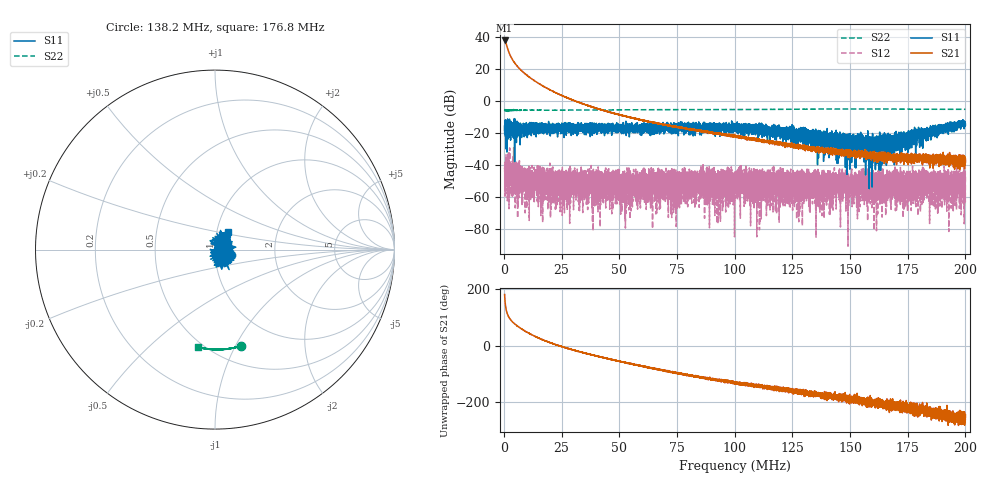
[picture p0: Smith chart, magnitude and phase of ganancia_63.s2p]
# Hz S DB R 50
! CMT, M5065, 19127446, 24.2.4/2
! Date: 11/8/2024 4:21:44 PM
! Data: Format (Calibration Info)
! Freq	S11:dB/Ang(F2)	S21:dB/Ang(F2)	S12:dB/Ang(F2)	S22:dB/Ang(F2)
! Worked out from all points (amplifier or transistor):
!   9000 points, 300 kHz to 200 MHz, reference 50 ohm
!   highest |S21| = 37.8 dB at 300 kHz (marker M1)
!   |S21| within 3 dB of that: start of sweep to 1.186 MHz
!   unconditionally stable (mu >= 1): 1.132 MHz to 1.692 MHz; 2.505 MHz to 4.223 MHz; 4.232 MHz to end of sweep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
!   at 33.59 MHz: K = 59.32, MAG = -0.2 dB, |S12| = -42.8 dB
!   at 100.2 MHz: K = 1316.98, MAG = -20.0 dB, |S12| = -50.0 dB
!   at 200 MHz: K = 4340.17, MAG = -34.7 dB, |S12| = -45.7 dB
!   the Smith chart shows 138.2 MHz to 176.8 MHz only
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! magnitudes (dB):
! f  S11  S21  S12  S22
! 300 kHz  -18.4  37.8  -42.6  -6.2
! 4.228 MHz  -23.3  24.7  -29.3  -5.4
! 5.87 MHz  -19.1  21.6  -47.5  -5.8
! 9.931 MHz  -17.8  16.1  -53.5  -5.8
! 22.25 MHz  -16.3  5.3  -51.6  -5.8
! 33.59 MHz  -17.2  -1.6  -42.8  -5.7
! 66.87 MHz  -17.0  -14.4  -50.9  -5.5
! 75.08 MHz  -17.6  -16.5  -51.8  -5.5
! 85.87 MHz  -15.9  -18.8  -48.2  -5.4
! 87.91 MHz  -15.3  -19.2  -52.1  -5.4
! 100.2 MHz  -15.1  -21.6  -50.0  -5.4
! 102.2 MHz  -17.8  -23.0  -53.3  -5.4
! 111.3 MHz  -20.3  -24.5  -53.5  -5.3
! 133.4 MHz  -21.4  -29.3  -48.5  -5.1
! 149.5 MHz  -27.3  -31.9  -52.9  -5.1
! 154.4 MHz  -23.8  -32.9  -51.7  -5.1
! 157.5 MHz  -28.0  -33.7  -55.9  -5.1
! 166.7 MHz  -26.0  -35.6  -49.4  -5.1
! 193.2 MHz  -13.9  -34.4  -57.7  -5.3
! 195.2 MHz  -13.2  -34.9  -55.2  -5.2
! 199 MHz  -13.8  -37.4  -50.3  -5.3
! 200 MHz  -15.1  -36.4  -45.7  -5.3
